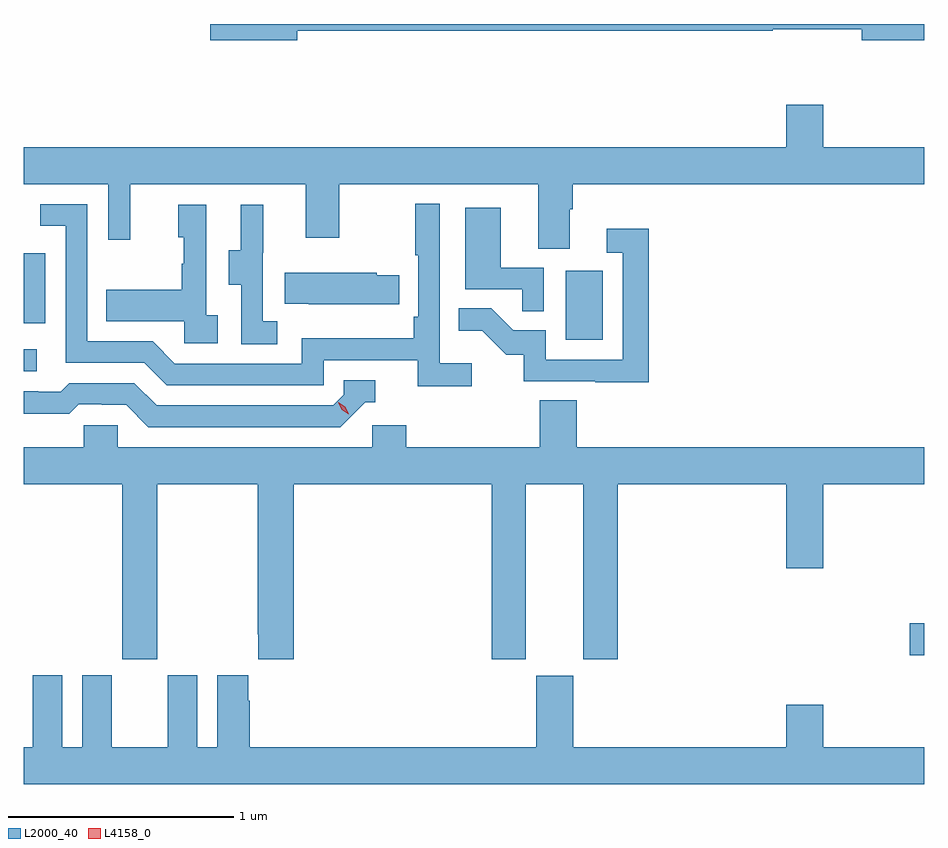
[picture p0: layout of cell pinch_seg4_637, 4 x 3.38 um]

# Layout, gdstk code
import gdstk
lib = gdstk.Library(unit=1e-6, precision=1e-09)
def R(c, l, rs):  # rectangles x0, y0, x1, y1
    for r in rs: c.add(gdstk.rectangle(r[:2], r[2:], *l))
def P(c, l, *ps):  # polygons
    for p in ps: c.add(gdstk.Polygon(p, *l))
L2000_40 = (2000, 40)
L4158_0 = (4158, 0)

pinch_seg4_637 = lib.new_cell('pinch_seg4_637')
R(pinch_seg4_637, L2000_40, [(1064.658,753.436,1064.722,753.578), (1060.722,754.698,1060.78,754.794), (1063.13,754.836,1063.294,755.143), (1060.722,754.911,1060.818,755.22)])
P(pinch_seg4_637, L2000_40, [(1061.938,756.208),(1064.048,756.208),(1064.048,756.216),(1064.444,756.216),(1064.444,756.166),(1064.722,756.166),(1064.722,756.239),(1061.55,756.239),(1061.55,756.166),(1061.938,756.166)],
  [(1063.147,755.416),(1063.16,755.416),(1063.16,755.528),(1064.722,755.528),(1064.722,755.692),(1064.272,755.692),(1064.272,755.881),(1064.108,755.881),(1064.108,755.692),(1060.722,755.692),(1060.722,755.528),(1061.097,755.528),(1061.097,755.28),(1061.195,755.28),(1061.195,755.528),(1061.975,755.528),(1061.975,755.289),(1062.123,755.289),(1062.123,755.528),(1063.007,755.528),(1063.007,755.242),(1063.147,755.242)],
  [(1062.712,754.732),(1062.57,754.732),(1062.57,755.44),(1062.462,755.44),(1062.462,755.212),(1062.474,755.212),(1062.474,754.939),(1062.454,754.939),(1062.454,754.843),(1061.958,754.843),(1061.958,754.731),(1061.394,754.731),(1061.295,754.83),(1061.004,754.83),(1061.004,755.439),(1060.795,755.439),(1060.795,755.343),(1060.908,755.343),(1060.908,754.734),(1061.258,754.734),(1061.357,754.635),(1062.054,754.635),(1062.054,754.746),(1062.473,754.746),(1062.473,754.63),(1062.712,754.63)],
  [(1061.584,754.946),(1061.532,754.946),(1061.532,755.437),(1061.408,755.437),(1061.408,755.292),(1061.434,755.292),(1061.434,755.174),(1061.424,755.174),(1061.424,755.059),(1061.089,755.059),(1061.089,754.919),(1061.436,754.919),(1061.436,754.821),(1061.584,754.821)],
  [(1061.848,754.919),(1061.784,754.919),(1061.784,755.223),(1061.786,755.223),(1061.786,755.437),(1061.687,755.437),(1061.687,755.235),(1061.633,755.235),(1061.633,755.08),(1061.688,755.08),(1061.688,754.816),(1061.848,754.816)],
  [(1063.032,755.157),(1062.841,755.157),(1062.841,755.422),(1062.683,755.422),(1062.683,755.061),(1062.937,755.061),(1062.937,754.963),(1063.032,754.963)],
  [(1063.499,755.329),(1063.311,755.329),(1063.311,755.223),(1063.383,755.223),(1063.383,754.749),(1063.041,754.749),(1063.041,754.878),(1062.897,754.878),(1062.799,754.976),(1062.655,754.976),(1062.655,754.877),(1062.759,754.877),(1062.866,754.77),(1062.943,754.77),(1062.943,754.653),(1063.261,754.653),(1063.261,754.648),(1063.499,754.648)],
  [(1062.389,755.124),(1062.291,755.124),(1062.291,755.134),(1061.881,755.134),(1061.881,754.997),(1061.989,754.997),(1061.989,754.994),(1062.389,754.994)],
  [(1062.24,754.56),(1062.283,754.56),(1062.283,754.656),(1062.144,754.656),(1062.144,754.593),(1062.096,754.545),(1061.313,754.545),(1061.214,754.644),(1060.925,754.644),(1060.886,754.605),(1060.787,754.605),(1060.787,754.608),(1060.722,754.608),(1060.722,754.509),(1060.925,754.509),(1060.967,754.551),(1061.07,754.551),(1061.07,754.548),(1061.177,754.548),(1061.276,754.449),(1062.129,754.449)],
  [(1062.422,754.458),(1062.27,754.458),(1062.27,754.36),(1061.139,754.36),(1061.139,754.458),(1060.989,754.458),(1060.989,754.36),(1060.722,754.36),(1060.722,754.196),(1061.161,754.196),(1061.161,753.417),(1061.316,753.417),(1061.316,754.196),(1061.761,754.196),(1061.761,753.529),(1061.765,753.529),(1061.765,753.417),(1061.921,753.417),(1061.921,754.196),(1062.8,754.196),(1062.8,753.417),(1062.952,753.417),(1062.952,754.196),(1063.208,754.196),(1063.208,753.417),(1063.361,753.417),(1063.361,754.196),(1064.108,754.196),(1064.108,753.822),(1064.272,753.822),(1064.272,754.196),(1064.722,754.196),(1064.722,754.36),(1063.178,754.36),(1063.178,754.568),(1063.013,754.568),(1063.013,754.36),(1062.422,754.36)],
  [(1064.722,753.028),(1064.272,753.028),(1064.272,753.217),(1064.108,753.217),(1064.108,753.028),(1063.162,753.028),(1063.162,753.345),(1062.998,753.345),(1062.998,753.028),(1061.726,753.028),(1061.726,753.233),(1061.719,753.233),(1061.719,753.346),(1061.582,753.346),(1061.582,753.028),(1061.494,753.028),(1061.494,753.346),(1061.363,753.346),(1061.363,753.028),(1061.113,753.028),(1061.113,753.346),(1060.982,753.346),(1060.982,753.028),(1060.894,753.028),(1060.894,753.346),(1060.763,753.346),(1060.763,753.028),(1060.722,753.028),(1060.722,752.864),(1064.722,752.864)])
P(pinch_seg4_637, L4158_0, [(1062.166,754.505),(1062.135,754.526),(1062.119,754.559),(1062.119,754.559),(1062.12,754.559),(1062.15,754.539),(1062.166,754.506),(1062.166,754.505)])

lib.write_gds('pinch_seg4_637.gds')
